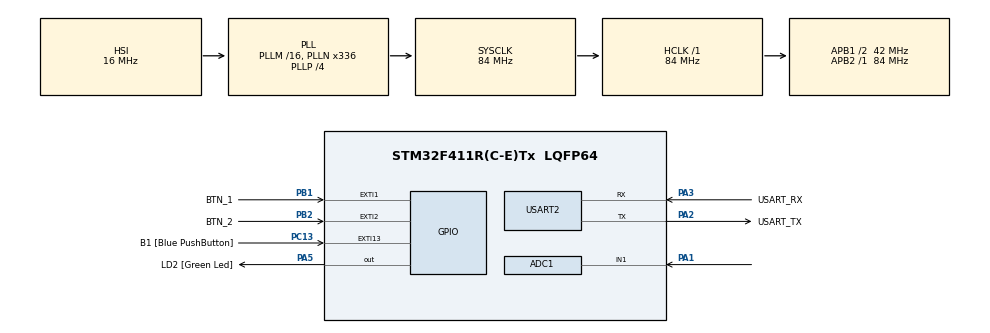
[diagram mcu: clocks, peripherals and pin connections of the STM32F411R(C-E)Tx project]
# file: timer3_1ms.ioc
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ADC1.Channel-0\#ChannelRegularConversion=ADC_CHANNEL_1
ADC1.NbrOfConversionFlag=1
ADC1.Rank-0\#ChannelRegularConversion=1
ADC1.SamplingTime-0\#ChannelRegularConversion=ADC_SAMPLETIME_3CYCLES
ADC1.master=1
Mcu.Family=STM32F4
Mcu.Name=STM32F411R(C-E)Tx
Mcu.Package=LQFP64
NVIC.ADC_IRQn=true\:0\:0\:false\:false\:true\:true\:true\:true
NVIC.PriorityGroup=NVIC_PRIORITYGROUP_0
NVIC.TIM3_IRQn=true\:0\:0\:false\:false\:true\:true\:true\:true
PA1.Signal=ADCx_IN1
PA13.GPIO_Label=TMS
PA13.Mode=Serial_Wire
PA13.Signal=SYS_JTMS-SWDIO
PA14.GPIO_Label=TCK
PA14.Mode=Serial_Wire
PA14.Signal=SYS_JTCK-SWCLK
PA2.GPIO_Label=USART_TX
PA2.Mode=Asynchronous
PA2.Signal=USART2_TX
PA3.GPIO_Label=USART_RX
PA3.Mode=Asynchronous
PA3.Signal=USART2_RX
PA5.GPIO_Label=LD2 [Green Led]
PA5.Signal=GPIO_Output
PA6.GPIO_Label=LED_R
PA6.Signal=S_TIM3_CH1
PA7.GPIO_Label=LED_Y
PA7.Signal=S_TIM3_CH2
PB0.GPIO_Label=LED_G
PB0.Signal=S_TIM3_CH3
PB1.GPIO_Label=BTN_1
PB1.GPIO_PuPd=GPIO_PULLUP
PB1.Signal=GPXTI1
PB2.GPIO_Label=BTN_2
PB2.GPIO_PuPd=GPIO_PULLUP
PB2.Signal=GPXTI2
PB3.GPIO_Label=SWO
PB3.Signal=SYS_JTDO-SWO
PC13-ANTI_TAMP.GPIO_Label=B1 [Blue PushButton]
PC13-ANTI_TAMP.GPIO_ModeDefaultEXTI=GPIO_MODE_IT_FALLING
PC13-ANTI_TAMP.Signal=GPXTI13
PC14-OSC32_IN.Signal=RCC_OSC32_IN
PC15-OSC32_OUT.Signal=RCC_OSC32_OUT
PH0\ -\ OSC_IN.Signal=RCC_OSC_IN
PH1\ -\ OSC_OUT.Signal=RCC_OSC_OUT
ProjectManager.HeapSize=0x200
ProjectManager.StackSize=0x400
ProjectManager.TargetToolchain=STM32CubeIDE
RCC.48MHZClocksFreq_Value=84000000
RCC.AHBFreq_Value=84000000
RCC.APB1CLKDivider=RCC_HCLK_DIV2
RCC.APB1Freq_Value=42000000
RCC.APB1TimFreq_Value=84000000
RCC.APB2Freq_Value=84000000
RCC.APB2TimFreq_Value=84000000
RCC.CortexFreq_Value=84000000
RCC.FLatency-AdvancedSettings=FLASH_LATENCY_2
RCC.HCLKFreq_Value=84000000
RCC.HSE_VALUE=8000000
RCC.HSI_VALUE=16000000
RCC.LSE_VALUE=32768
RCC.PLLN=336
RCC.PLLP=RCC_PLLP_DIV4
RCC.SYSCLKFreq_VALUE=84000000
RCC.SYSCLKSource=RCC_SYSCLKSOURCE_PLLCLK
RCC.VCOOutputFreq_Value=336000000
SH.ADCx_IN1.0=ADC1_IN1,IN1
SH.S_TIM3_CH1.0=TIM3_CH1
SH.S_TIM3_CH2.0=TIM3_CH2
SH.S_TIM3_CH3.0=TIM3_CH3
TIM2.Channel-Output\ Compare1\ No\ Output=TIM_CHANNEL_1
TIM2.Period=100-1
TIM2.Prescaler=8400-1
TIM3.AutoReloadPreload=TIM_AUTORELOAD_PRELOAD_ENABLE
TIM3.Period=1000-1
TIM3.Prescaler=84-1
USART2.VirtualMode=VM_ASYNC
VP_TIM2_VS_no_output1.Mode=Output Compare1 No Output
VP_TIM3_VS_ClockSourceINT.Mode=Internal
board=NUCLEO-F411RE

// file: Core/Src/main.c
/* USER CODE BEGIN Header */
/**
  ******************************************************************************
  * @file           : main.c
  * @brief          : Main program body
  ******************************************************************************
  * @attention
  *
  * Copyright (c) 2025 STMicroelectronics.
  * All rights reserved.
  *
  * This software is licensed under terms that can be found in the LICENSE file
  * in the root directory of this software component.
  * If no LICENSE file comes with this software, it is provided AS-IS.
  *
  ******************************************************************************
  */
/* USER CODE END Header */
#include "main.h"

/* USER CODE BEGIN Includes */
#include <stdio.h>
/* USER CODE END Includes */

/* USER CODE BEGIN PD */
#ifdef __GNUC__
/* With GCC, small printf (option LD Linker->Libraries->Small printf
   set to 'Yes') calls __io_putchar() */
#define PUTCHAR_PROTOTYPE int __io_putchar(int ch)
#else
#define PUTCHAR_PROTOTYPE int fputc(int ch, FILE *f)
#endif /* __GNUC__ */
/* USER CODE END PD */

ADC_HandleTypeDef hadc1;

TIM_HandleTypeDef htim2;
TIM_HandleTypeDef htim3;

UART_HandleTypeDef huart2;

/* USER CODE BEGIN PV */
typedef enum { ST_RED, ST_YELLOW, ST_GREEN } TrafficState;
static TrafficState trafficState = ST_RED;
static uint16_t tickCounter = 0;
/* USER CODE END PV */

void SystemClock_Config(void);
static void MX_GPIO_Init(void);
static void MX_USART2_UART_Init(void);
static void MX_TIM3_Init(void);
static void MX_ADC1_Init(void);
static void MX_TIM2_Init(void);
/* USER CODE BEGIN PFP */
void Traffic_SetColor(uint16_t r, uint16_t y, uint16_t g);

//PWM이랑 타이머 활용 함수
void Traffic_Init_Polling(void);
void Traffic_Run_Polling(void);

// 타이머랑 인터럽트 활용 함수
void Traffic_Init_Interrupt(void);
void Traffic_Update_Interrupt(void);

//ADC PWM 전압 조절
void Traffic_Brightness_ADC(void);
/* USER CODE END PFP */

int main(void)
{

  /* MCU Configuration--------------------------------------------------------*/

  /* Reset of all peripherals, Initializes the Flash interface and the Systick. */
  HAL_Init();

  /* Configure the system clock */
  SystemClock_Config();

  /* Initialize all configured peripherals */
  MX_GPIO_Init();
  MX_USART2_UART_Init();
  MX_TIM3_Init();
  MX_ADC1_Init();
  MX_TIM2_Init();
  /* USER CODE BEGIN 2 */
  printf("start main()!!\r\n");
  Traffic_Init_Polling(); // pwm 방식
  //Traffic_Init_Interrupt(); 인터럽트 방식
  /* USER CODE END 2 */

  /* Infinite loop */
  /* USER CODE BEGIN WHILE */
  while (1)
  {
	  Traffic_Run_Polling();
	  Traffic_Brightness_ADC();    // ADC로 밝기 조절
    /* USER CODE END WHILE */

  }
}

void SystemClock_Config(void)
{
  RCC_OscInitTypeDef RCC_OscInitStruct = {0};
  RCC_ClkInitTypeDef RCC_ClkInitStruct = {0};

  /** Configure the main internal regulator output voltage
  */
  __HAL_RCC_PWR_CLK_ENABLE();
  __HAL_PWR_VOLTAGESCALING_CONFIG(PWR_REGULATOR_VOLTAGE_SCALE1);

  /** Initializes the RCC Oscillators according to the specified parameters
  * in the RCC_OscInitTypeDef structure.
  */
  RCC_OscInitStruct.OscillatorType = RCC_OSCILLATORTYPE_HSI;
  RCC_OscInitStruct.HSIState = RCC_HSI_ON;
  RCC_OscInitStruct.HSICalibrationValue = RCC_HSICALIBRATION_DEFAULT;
  RCC_OscInitStruct.PLL.PLLState = RCC_PLL_ON;
  RCC_OscInitStruct.PLL.PLLSource = RCC_PLLSOURCE_HSI;
  RCC_OscInitStruct.PLL.PLLM = 16;
  RCC_OscInitStruct.PLL.PLLN = 336;
  RCC_OscInitStruct.PLL.PLLP = RCC_PLLP_DIV4;
  RCC_OscInitStruct.PLL.PLLQ = 4;
  if (HAL_RCC_OscConfig(&RCC_OscInitStruct) != HAL_OK)
  {
    Error_Handler();
  }

  /** Initializes the CPU, AHB and APB buses clocks
  */
  RCC_ClkInitStruct.ClockType = RCC_CLOCKTYPE_HCLK|RCC_CLOCKTYPE_SYSCLK
                              |RCC_CLOCKTYPE_PCLK1|RCC_CLOCKTYPE_PCLK2;
  RCC_ClkInitStruct.SYSCLKSource = RCC_SYSCLKSOURCE_PLLCLK;
  RCC_ClkInitStruct.AHBCLKDivider = RCC_SYSCLK_DIV1;
  RCC_ClkInitStruct.APB1CLKDivider = RCC_HCLK_DIV2;
  RCC_ClkInitStruct.APB2CLKDivider = RCC_HCLK_DIV1;

  if (HAL_RCC_ClockConfig(&RCC_ClkInitStruct, FLASH_LATENCY_2) != HAL_OK)
  {
    Error_Handler();
  }
}

static void MX_ADC1_Init(void)
{

  ADC_ChannelConfTypeDef sConfig = {0};

  /** Configure the global features of the ADC (Clock, Resolution, Data Alignment and number of conversion)
  */
  hadc1.Instance = ADC1;
  hadc1.Init.ClockPrescaler = ADC_CLOCK_SYNC_PCLK_DIV4;
  hadc1.Init.Resolution = ADC_RESOLUTION_12B;
  hadc1.Init.ScanConvMode = DISABLE;
  hadc1.Init.ContinuousConvMode = DISABLE;
  hadc1.Init.DiscontinuousConvMode = DISABLE;
  hadc1.Init.ExternalTrigConvEdge = ADC_EXTERNALTRIGCONVEDGE_NONE;
  hadc1.Init.ExternalTrigConv = ADC_SOFTWARE_START;
  hadc1.Init.DataAlign = ADC_DATAALIGN_RIGHT;
  hadc1.Init.NbrOfConversion = 1;
  hadc1.Init.DMAContinuousRequests = DISABLE;
  hadc1.Init.EOCSelection = ADC_EOC_SINGLE_CONV;
  if (HAL_ADC_Init(&hadc1) != HAL_OK)
  {
    Error_Handler();
  }

  /** Configure for the selected ADC regular channel its corresponding rank in the sequencer and its sample time.
  */
  sConfig.Channel = ADC_CHANNEL_1;
  sConfig.Rank = 1;
  sConfig.SamplingTime = ADC_SAMPLETIME_3CYCLES;
  if (HAL_ADC_ConfigChannel(&hadc1, &sConfig) != HAL_OK)
  {
    Error_Handler();
  }

}

static void MX_TIM2_Init(void)
{

  TIM_MasterConfigTypeDef sMasterConfig = {0};
  TIM_OC_InitTypeDef sConfigOC = {0};

  htim2.Instance = TIM2;
  htim2.Init.Prescaler = 8400-1;
  htim2.Init.CounterMode = TIM_COUNTERMODE_UP;
  htim2.Init.Period = 100-1;
  htim2.Init.ClockDivision = TIM_CLOCKDIVISION_DIV1;
  htim2.Init.AutoReloadPreload = TIM_AUTORELOAD_PRELOAD_DISABLE;
  if (HAL_TIM_OC_Init(&htim2) != HAL_OK)
  {
    Error_Handler();
  }
  sMasterConfig.MasterOutputTrigger = TIM_TRGO_RESET;
  sMasterConfig.MasterSlaveMode = TIM_MASTERSLAVEMODE_DISABLE;
  if (HAL_TIMEx_MasterConfigSynchronization(&htim2, &sMasterConfig) != HAL_OK)
  {
    Error_Handler();
  }
  sConfigOC.OCMode = TIM_OCMODE_TIMING;
  sConfigOC.Pulse = 0;
  sConfigOC.OCPolarity = TIM_OCPOLARITY_HIGH;
  sConfigOC.OCFastMode = TIM_OCFAST_DISABLE;
  if (HAL_TIM_OC_ConfigChannel(&htim2, &sConfigOC, TIM_CHANNEL_1) != HAL_OK)
  {
    Error_Handler();
  }

}

static void MX_TIM3_Init(void)
{

  TIM_ClockConfigTypeDef sClockSourceConfig = {0};
  TIM_MasterConfigTypeDef sMasterConfig = {0};

  htim3.Instance = TIM3;
  htim3.Init.Prescaler = 84-1;
  htim3.Init.CounterMode = TIM_COUNTERMODE_UP;
  htim3.Init.Period = 1000-1;
  htim3.Init.ClockDivision = TIM_CLOCKDIVISION_DIV1;
  htim3.Init.AutoReloadPreload = TIM_AUTORELOAD_PRELOAD_ENABLE;
  if (HAL_TIM_Base_Init(&htim3) != HAL_OK)
  {
    Error_Handler();
  }
  sClockSourceConfig.ClockSource = TIM_CLOCKSOURCE_INTERNAL;
  if (HAL_TIM_ConfigClockSource(&htim3, &sClockSourceConfig) != HAL_OK)
  {
    Error_Handler();
  }
  sMasterConfig.MasterOutputTrigger = TIM_TRGO_RESET;
  sMasterConfig.MasterSlaveMode = TIM_MASTERSLAVEMODE_DISABLE;
  if (HAL_TIMEx_MasterConfigSynchronization(&htim3, &sMasterConfig) != HAL_OK)
  {
    Error_Handler();
  }

}

static void MX_USART2_UART_Init(void)
{

  huart2.Instance = USART2;
  huart2.Init.BaudRate = 115200;
  huart2.Init.WordLength = UART_WORDLENGTH_8B;
  huart2.Init.StopBits = UART_STOPBITS_1;
  huart2.Init.Parity = UART_PARITY_NONE;
  huart2.Init.Mode = UART_MODE_TX_RX;
  huart2.Init.HwFlowCtl = UART_HWCONTROL_NONE;
  huart2.Init.OverSampling = UART_OVERSAMPLING_16;
  if (HAL_UART_Init(&huart2) != HAL_OK)
  {
    Error_Handler();
  }

}

static void MX_GPIO_Init(void)
{
  GPIO_InitTypeDef GPIO_InitStruct = {0};

  /* GPIO Ports Clock Enable */
  __HAL_RCC_GPIOC_CLK_ENABLE();
  __HAL_RCC_GPIOH_CLK_ENABLE();
  __HAL_RCC_GPIOA_CLK_ENABLE();
  __HAL_RCC_GPIOB_CLK_ENABLE();

  /*Configure GPIO pin Output Level */
  HAL_GPIO_WritePin(LD2_GPIO_Port, LD2_Pin, GPIO_PIN_RESET);

  /*Configure GPIO pin : B1_Pin */
  GPIO_InitStruct.Pin = B1_Pin;
  GPIO_InitStruct.Mode = GPIO_MODE_IT_FALLING;
  GPIO_InitStruct.Pull = GPIO_NOPULL;
  HAL_GPIO_Init(B1_GPIO_Port, &GPIO_InitStruct);

  /*Configure GPIO pin : LD2_Pin */
  GPIO_InitStruct.Pin = LD2_Pin;
  GPIO_InitStruct.Mode = GPIO_MODE_OUTPUT_PP;
  GPIO_InitStruct.Pull = GPIO_NOPULL;
  GPIO_InitStruct.Speed = GPIO_SPEED_FREQ_LOW;
  HAL_GPIO_Init(LD2_GPIO_Port, &GPIO_InitStruct);

  /*Configure GPIO pins : BTN_1_Pin BTN_2_Pin */
  GPIO_InitStruct.Pin = BTN_1_Pin|BTN_2_Pin;
  GPIO_InitStruct.Mode = GPIO_MODE_IT_RISING;
  GPIO_InitStruct.Pull = GPIO_PULLUP;
  HAL_GPIO_Init(GPIOB, &GPIO_InitStruct);

}

/* USER CODE BEGIN 4 */
PUTCHAR_PROTOTYPE
{
  /* Place your implementation of fputc here */
  /* e.g. write a character to the USART6 and Loop until the end of transmission */
  HAL_UART_Transmit(&huart2, (uint8_t *)&ch, 1, 0xFFFF);

  return ch;
}

void Traffic_SetColor(uint16_t r, uint16_t y, uint16_t g) //색제어함수
{
  __HAL_TIM_SET_COMPARE(&htim3, TIM_CHANNEL_1, r); // RED
  __HAL_TIM_SET_COMPARE(&htim3, TIM_CHANNEL_2, y); // YELLOW
  __HAL_TIM_SET_COMPARE(&htim3, TIM_CHANNEL_3, g); // GREEN
}

// PWM + TIMER + POLLING
void Traffic_Init_Polling(void)
{
  HAL_TIM_Base_Start(&htim2);  // 인터럽트 없음
  HAL_TIM_PWM_Start(&htim3, TIM_CHANNEL_1);
  HAL_TIM_PWM_Start(&htim3, TIM_CHANNEL_2);
  HAL_TIM_PWM_Start(&htim3, TIM_CHANNEL_3);

  Traffic_SetColor(999, 0, 0); // 초기 상태 RED
  trafficState = ST_RED;
  tickCounter = 0;
}

void Traffic_Run_Polling(void)
{
  if (__HAL_TIM_GET_FLAG(&htim2, TIM_FLAG_UPDATE))
  {
    __HAL_TIM_CLEAR_FLAG(&htim2, TIM_FLAG_UPDATE);
    tickCounter++;

    if (tickCounter >= 500) // 5초 (10ms * 500)
    {
      tickCounter = 0;

      switch (trafficState)
      {
        case ST_RED:
          trafficState = ST_YELLOW;
          Traffic_SetColor(0, 999, 0);
          break;
        case ST_YELLOW:
          trafficState = ST_GREEN;
          Traffic_SetColor(0, 0, 999);
          break;
        case ST_GREEN:
          trafficState = ST_RED;
          Traffic_SetColor(999, 0, 0);
          break;
      }
    }
  }
}

// 인터럽트 + TIMER
void Traffic_Init_Interrupt(void)
{
  HAL_TIM_Base_Start_IT(&htim2);
  HAL_TIM_PWM_Start(&htim3, TIM_CHANNEL_1);
  HAL_TIM_PWM_Start(&htim3, TIM_CHANNEL_2);
  HAL_TIM_PWM_Start(&htim3, TIM_CHANNEL_3);

  Traffic_SetColor(999, 0, 0); // 초기 상태 RED
  trafficState = ST_RED;
  tickCounter = 0;
}

void Traffic_Update_Interrupt(void)
{
  tickCounter++;

  if (tickCounter >= 500)
  {
    tickCounter = 0;

    switch (trafficState)
    {
      case ST_RED:
        trafficState = ST_YELLOW;
        Traffic_SetColor(0, 999, 0);
        break;
      case ST_YELLOW:
        trafficState = ST_GREEN;
        Traffic_SetColor(0, 0, 999);
        break;
      case ST_GREEN:
        trafficState = ST_RED;
        Traffic_SetColor(999, 0, 0);
        break;
    }
  }
}

void HAL_TIM_PeriodElapsedCallback(TIM_HandleTypeDef *htim)
{
  if (htim->Instance == TIM2)
  {
    Traffic_Update_Interrupt();
  }
}

void Traffic_Brightness_ADC(void) // adc 조절
{
  HAL_ADC_Start(&hadc1); // ADC 시작
  if (HAL_ADC_PollForConversion(&hadc1, 10) == HAL_OK)
  {
    uint32_t adcValue = HAL_ADC_GetValue(&hadc1); // 0 ~ 4095

    // PWM 범위로 맵핑 (0 ~ 999)
    uint16_t pwmDuty = (adcValue * 999) / 4095;

    // 현재 상태에 따라 해당 채널만 밝기 조절
    switch (trafficState)
    {
      case ST_RED:
        Traffic_SetColor(pwmDuty, 0, 0);
        break;
      case ST_YELLOW:
        Traffic_SetColor(0, pwmDuty, 0);
        break;
      case ST_GREEN:
        Traffic_SetColor(0, 0, pwmDuty);
        break;
    }
  }
  HAL_ADC_Stop(&hadc1); // ADC 정지
}

/* USER CODE END 4 */

void Error_Handler(void)
{
  __disable_irq();
  while (1)
  {
  }
}
